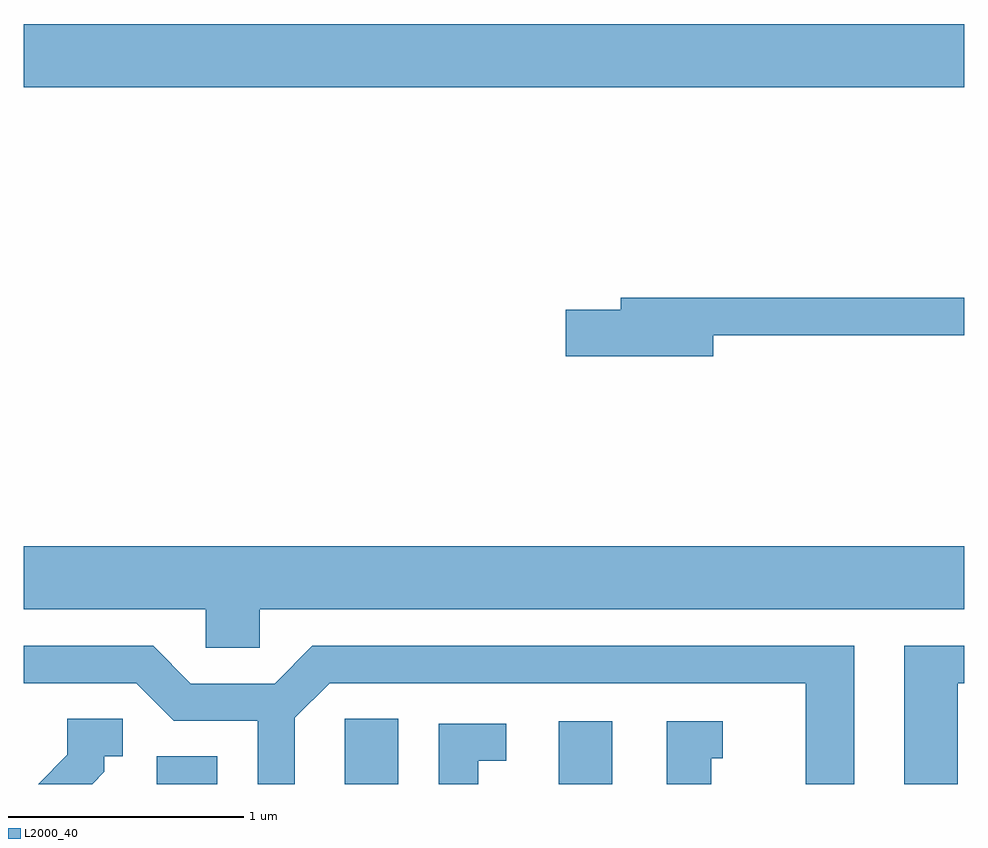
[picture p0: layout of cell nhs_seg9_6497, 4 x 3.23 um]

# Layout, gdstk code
import gdstk
lib = gdstk.Library(unit=1e-6, precision=1e-09)
def R(c, l, rs):  # rectangles x0, y0, x1, y1
    for r in rs: c.add(gdstk.rectangle(r[:2], r[2:], *l))
def P(c, l, *ps):  # polygons
    for p in ps: c.add(gdstk.Polygon(p, *l))
L2000_40 = (2000, 40)

nhs_seg9_6497 = lib.new_cell('nhs_seg9_6497')
R(nhs_seg9_6497, L2000_40, [(378.176,1964.432,378.434,1964.549), (378.976,1964.432,379.204,1964.709), (379.886,1964.432,380.114,1964.699), (377.611,1967.396,381.611,1967.664)])
P(nhs_seg9_6497, L2000_40, [(380.544,1966.341),(381.611,1966.341),(381.611,1966.499),(380.151,1966.499),(380.151,1966.449),(379.916,1966.449),(379.916,1966.251),(380.544,1966.251)],
  [(378.614,1965.176),(381.611,1965.176),(381.611,1965.444),(377.611,1965.444),(377.611,1965.176),(378.386,1965.176),(378.386,1965.011),(378.614,1965.011)],
  [(378.764,1964.714),(378.912,1964.861),(380.936,1964.861),(380.936,1964.432),(381.144,1964.432),(381.144,1965.019),(378.839,1965.019),(378.679,1964.859),(378.322,1964.859),(378.162,1965.019),(377.611,1965.019),(377.611,1964.861),(378.089,1964.861),(378.249,1964.701),(378.606,1964.701),(378.606,1964.432),(378.764,1964.432)],
  [(381.584,1964.861),(381.611,1964.861),(381.611,1965.019),(381.356,1965.019),(381.356,1964.432),(381.584,1964.432)],
  [(377.954,1964.484),(377.954,1964.551),(378.033,1964.551),(378.033,1964.709),(377.796,1964.709),(377.796,1964.557),(377.672,1964.432),(377.902,1964.432)],
  [(380.534,1964.541),(380.583,1964.541),(380.583,1964.699),(380.346,1964.699),(380.346,1964.432),(380.534,1964.432)],
  [(379.544,1964.531),(379.663,1964.531),(379.663,1964.689),(379.376,1964.689),(379.376,1964.432),(379.544,1964.432)])

lib.write_gds('nhs_seg9_6497.gds')
